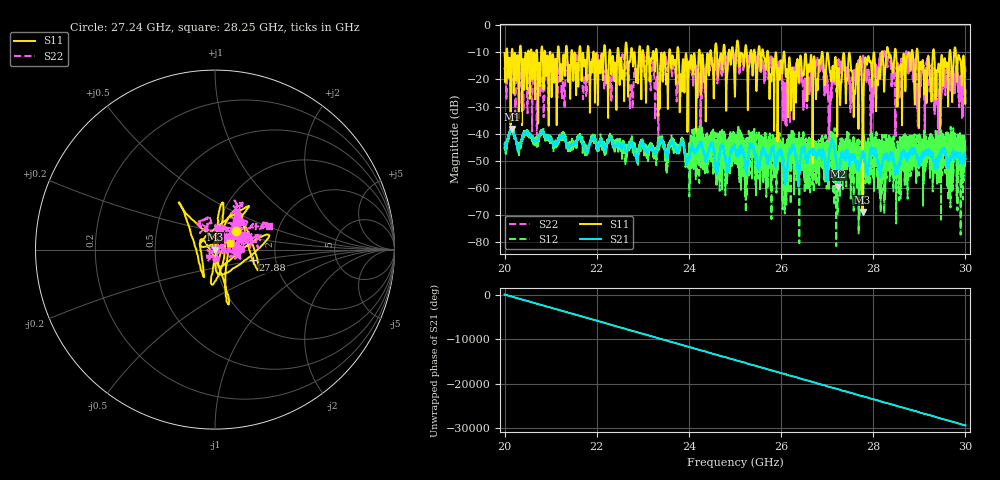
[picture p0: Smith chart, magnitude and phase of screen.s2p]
#  HZ  S  RI  R  50.00
! Rohde & Schwarz ZVA40 4Ports - Version 3.90 - 1145.1110k42 SN: 100403
! Date: 2023-09-21 07:06:11
! Measurements: S11 S21 S12 S22
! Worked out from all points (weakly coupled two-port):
!   5000 points, 20 GHz to 30 GHz, reference 50 ohm
!   highest |S21| = -38.22 dB at 20.17 GHz (marker M1); lowest = -59.5 dB at 27.25 GHz (marker M2)
!   lowest |S11| = -68.7 dB at 27.77 GHz (marker M3), VSWR 1.00, Z = 50 + j0.0343 ohm
!   |S11| at or under -10 dB: 23.78 GHz to 24.21 GHz (439.2 MHz wide, 1.83 % of centre); 26.07 GHz to 26.89 GHz (815.8 MHz wide, 3.08 % of centre); 26.9 GHz to 28.18 GHz (1.285 GHz wide, 4.67 % of centre) (the widest 3 of 55)
!   |S22| runs from -53.1 to -8.8 dB; largest |S21 - S12| = 0.013
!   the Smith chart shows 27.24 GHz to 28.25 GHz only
!   S11 on the Smith chart (normalised r, x): 27.24 GHz: 1.23, +0.27; 27.88 GHz: 1.52, -0.18; 28.25 GHz: 1.17, +0.09
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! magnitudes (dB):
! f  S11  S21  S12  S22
! 20 GHz  -10.2  -43.8  -44.7  -15.6
! 20.17 GHz  -8.9  -38.2  -38.2  -16.7
! 21.67 GHz  -20.5  -42.1  -41.8  -14.5
! 22.52 GHz  -11.9  -44.4  -43.3  -14.3
! 22.75 GHz  -8.4  -43.0  -42.4  -22.4
! 23.06 GHz  -20.2  -45.7  -47.3  -15.4
! 23.33 GHz  -33.4  -43.9  -44.5  -41.0
! 25 GHz  -25.2  -46.0  -41.4  -15.7
! 25.96 GHz  -16.9  -46.1  -43.0  -15.8
! 26.09 GHz  -13.0  -53.6  -45.6  -21.3
! 26.67 GHz  -14.2  -46.5  -48.5  -16.0
! 27.05 GHz  -15.7  -46.0  -42.7  -29.4
! 27.24 GHz  -16.1  -58.5  -49.4  -13.8
! 27.25 GHz  -15.7  -59.5  -47.8  -12.5
! 27.5 GHz  -12.0  -49.3  -43.9  -25.2
! 27.77 GHz  -68.7  -46.6  -48.0  -13.5
! 27.88 GHz  -13.3  -55.2  -42.8  -16.7
! 27.98 GHz  -21.6  -46.8  -43.2  -28.8
! 28.25 GHz  -21.0  -47.5  -44.8  -9.6
! 28.33 GHz  -10.6  -49.1  -53.9  -11.0
! 29.44 GHz  -18.8  -48.4  -50.9  -31.8
! 30 GHz  -23.9  -49.2  -44.2  -17.1
